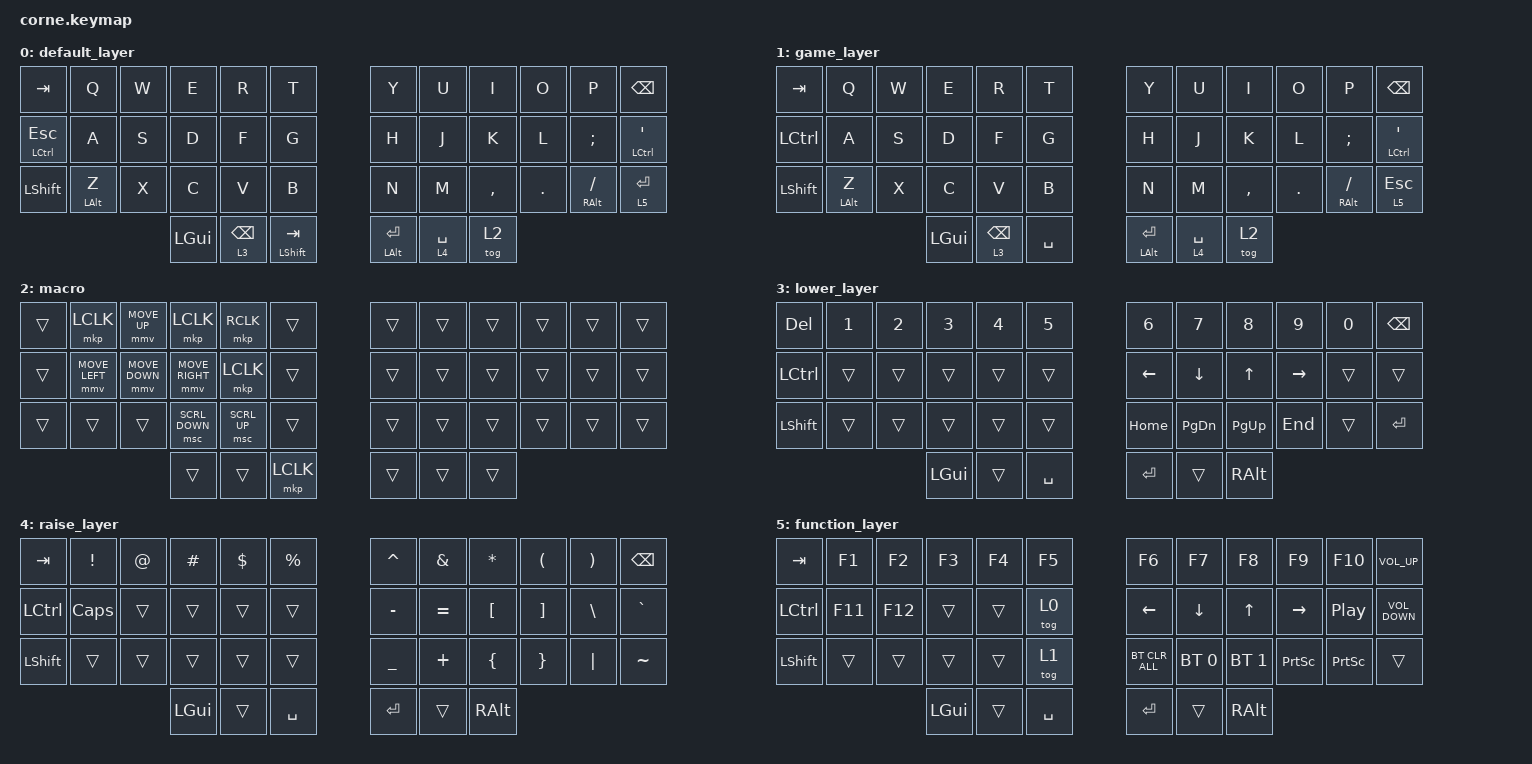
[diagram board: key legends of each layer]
/*
 * Copyright (c) 2020 The ZMK Contributors
 *
 * SPDX-License-Identifier: MIT
 * https://nickcoutsos.github.io/keymap-editor/
 */
/*
#define ZMK_POINTING_DEFAULT_MOVE_VAL 1500  // default: 600
#define ZMK_POINTING_DEFAULT_SCRL_VAL 20    // default: 10
*/

#include <behaviors.dtsi>
#include <dt-bindings/zmk/bt.h>
#include <dt-bindings/zmk/keys.h>
#include <dt-bindings/zmk/pointing.h>

#define LYGame 1
#define LYLow 3
#define LYRais 4
#define LYFunc 5

/ {
    behaviors {
        hm: homerow_mods {
            compatible = "zmk,behavior-hold-tap";
            label = "HOMEROW_MODS";
            #binding-cells = <2>;
            tapping-term-ms = <180>;
            quick_tap_ms = <0>;
            flavor = "tap-preferred";
            bindings = <&kp>, <&kp>;
        };
    };

    keymap {
        compatible = "zmk,keymap";

        default_layer {
            // -----------------------------------------------------------------------------------------
            // |  TAB |  Q  |  W  |  E  |  R  |  T  |   |  Y  |  U   |  I  |  O  |  P  | BKSP |
            // | CTRL |  A  |  S  |  D  |  F  |  G  |   |  H  |  J   |  K  |  L  |  ;  |  '   |
            // | SHFT |  Z  |  X  |  C  |  V  |  B  |   |  N  |  M   |  ,  |  .  |  /  | ENT  |
            //                    | GUI | LWR | SPC |   | ENT | RSE  | ALT |

            bindings = <
&kp TAB        &kp Q       &kp W  &kp E     &kp R       &kp T             &kp Y         &kp U        &kp I      &kp O    &kp P          &kp BSPC
&mt LCTRL ESC  &kp A       &kp S  &kp D     &kp F       &kp G             &kp H         &kp J        &kp K      &kp L    &kp SEMI       &mt LCTRL SQT
&kp LSHFT      &hm LALT Z  &kp X  &kp C     &kp V       &kp B             &kp N         &kp M        &kp COMMA  &kp DOT  &hm RALT FSLH  &lt 5 RET
                                  &kp LGUI  &lt 3 BSPC  &hm LSHIFT TAB    &hm LALT RET  &lt 4 SPACE  &tog 2
            >;
        };

        game_layer {
            // -----------------------------------------------------------------------------------------
            // |  TAB |  Q  |  W  |  E  |  R  |  T  |   |  Y  |  U   |  I  |  O  |  P  | BKSP |
            // | CTRL |  A  |  S  |  D  |  F  |  G  |   |  H  |  J   |  K  |  L  |  ;  |  '   |
            // | SHFT |  Z  |  X  |  C  |  V  |  B  |   |  N  |  M   |  ,  |  .  |  /  | ENT  |
            //                    | GUI | LWR | SPC |   | ENT | RSE  | ALT |

            bindings = <
&kp TAB    &kp Q       &kp W  &kp E     &kp R       &kp T        &kp Y         &kp U        &kp I      &kp O    &kp P          &kp BSPC
&kp LCTRL  &kp A       &kp S  &kp D     &kp F       &kp G        &kp H         &kp J        &kp K      &kp L    &kp SEMI       &mt LCTRL SQT
&kp LSHFT  &hm LALT Z  &kp X  &kp C     &kp V       &kp B        &kp N         &kp M        &kp COMMA  &kp DOT  &hm RALT FSLH  &lt 5 ESC
                              &kp LGUI  &lt 3 BSPC  &kp SPACE    &hm LALT RET  &lt 4 SPACE  &tog 2
            >;
        };

        macro {
            bindings = <
&trans  &mkp LCLK       &mmv MOVE_UP    &mkp LCLK        &mkp RCLK     &trans       &trans  &trans  &trans  &trans  &trans  &trans
&trans  &mmv MOVE_LEFT  &mmv MOVE_DOWN  &mmv MOVE_RIGHT  &mkp LCLK     &trans       &trans  &trans  &trans  &trans  &trans  &trans
&trans  &trans          &trans          &msc SCRL_DOWN   &msc SCRL_UP  &trans       &trans  &trans  &trans  &trans  &trans  &trans
                                        &trans           &trans        &mkp LCLK    &trans  &trans  &trans
            >;
        };

        lower_layer {
            // -----------------------------------------------------------------------------------------
            // |  TAB |  1  |  2  |  3  |  4  |  5  |   |  6  |  7  |  8  |  9  |  0  | BKSP |

            bindings = <
&kp DEL    &kp N1  &kp N2  &kp N3    &kp N4  &kp N5       &kp N6    &kp N7         &kp N8       &kp N9     &kp N0  &kp BSPC
&kp LCTRL  &trans  &trans  &trans    &trans  &trans       &kp LEFT  &kp DOWN       &kp UP       &kp RIGHT  &trans  &trans
&kp LSHFT  &trans  &trans  &trans    &trans  &trans       &kp HOME  &kp PAGE_DOWN  &kp PAGE_UP  &kp END    &trans  &kp RET
                           &kp LGUI  &trans  &kp SPACE    &kp RET   &trans         &kp RALT
            >;
        };

        raise_layer {
            // -----------------------------------------------------------------------------------------
            // |  TAB |  !  |  @  |  #  |  $  |  %  |   |  ^  |  &  |  *  |  (  |  )  | BKSP |
            // | CTRL | CAPS|     |     |     |     |   |  -  |  =  |  [  |  ]  |  \  |  `   |
            // | LSHFT|     |     |     |     |     |   |  _  |  +  |  {  |  }  | "|" |  ~   |
            //                    | GUI |     | SPC |   | ENT |     | ALT |

            bindings = <
&kp TAB    &kp EXCL  &kp AT  &kp HASH  &kp DLLR  &kp PRCNT    &kp CARET  &kp AMPS   &kp STAR  &kp LPAR  &kp RPAR  &kp BSPC
&kp LCTRL  &kp CAPS  &trans  &trans    &trans    &trans       &kp MINUS  &kp EQUAL  &kp LBKT  &kp RBKT  &kp BSLH  &kp GRAVE
&kp LSHFT  &trans    &trans  &trans    &trans    &trans       &kp UNDER  &kp PLUS   &kp LBRC  &kp RBRC  &kp PIPE  &kp TILDE
                             &kp LGUI  &trans    &kp SPACE    &kp RET    &trans     &kp RALT
            >;
        };

        function_layer {
            // -----------------------------------------------------------------------------------------
            // |  TAB |  f1  |  f2  |  3  |  4  |  5  |   |  6  |  7  |  8  |  9  |  0  | BKSP |
            // | BTCLR|     |     |     |     |     |   | LFT | DWN |  UP | RGT |     |      |
            // | SHFT |     |     |     |     |     |   | BTC | BT0 | BT1 |     |     |      |
            //                    | GUI |     | SPC |   | ENT |     | ALT |

            bindings = <
&kp TAB    &kp F1   &kp F2   &kp F3    &kp F4  &kp F5       &kp F6          &kp F7        &kp F8        &kp F9     &kp F10           &kp C_VOLUME_UP
&kp LCTRL  &kp F11  &kp F12  &trans    &trans  &tog 0       &kp LEFT        &kp DOWN      &kp UP        &kp RIGHT  &kp C_PLAY_PAUSE  &kp C_VOLUME_DOWN
&kp LSHFT  &trans   &trans   &trans    &trans  &tog 1       &bt BT_CLR_ALL  &bt BT_SEL 0  &bt BT_SEL 1  &kp PSCRN  &kp PSCRN         &trans
                             &kp LGUI  &trans  &kp SPACE    &kp RET         &trans        &kp RALT
            >;
        };
    };
};
